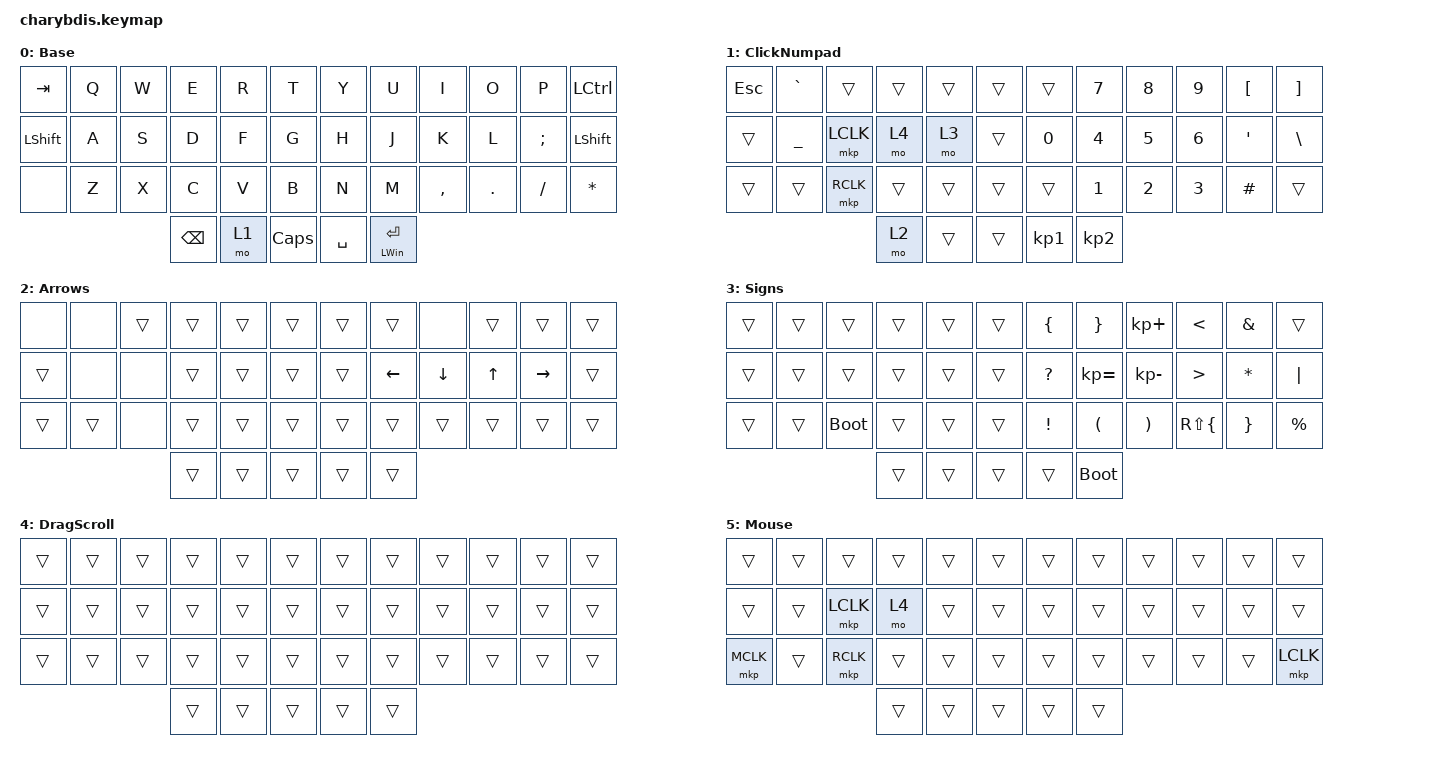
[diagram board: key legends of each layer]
#include <behaviors.dtsi>
#include <dt-bindings/zmk/keys.h>
#include <dt-bindings/zmk/bt.h>
#include <dt-bindings/zmk/ext_power.h>
#include <dt-bindings/zmk/mouse.h>
#include <dt-bindings/zmk/outputs.h>

/ {
    trackball_listener {
        compatible = "zmk,input-behavior-listener";
        device = <&vtrackball>;
        layers = <0 1 2 3 5>;
        evt-type = <INPUT_EV_REL>;
        x-input-code = <INPUT_REL_X>;
        y-input-code = <INPUT_REL_Y>;
        scale-multiplier = <1>;
        scale-divisor = <1>;
        bindings = <&ib_toggle_layer 5>;
    };

    trackball_snipe_listener {
        compatible = "zmk,input-behavior-listener";
        device = <&vtrackball>;
        layers = <>;
        evt-type = <INPUT_EV_REL>;
        x-input-code = <INPUT_REL_X>;
        y-input-code = <INPUT_REL_Y>;
        scale-multiplier = <1>;
        scale-divisor = <4>;
    };

    trackball_scroll_listener {
        compatible = "zmk,input-behavior-listener";
        device = <&vtrackball>;
        layers = <4>;
        evt-type = <INPUT_EV_REL>;
        x-input-code = <INPUT_REL_MISC>;
        y-input-code = <INPUT_REL_WHEEL>;
        bindings = <&ib_wheel_scaler 1 8>;
    };

    ib_wheel_scaler: ib_wheel_scaler {
        compatible = "zmk,input-behavior-scaler";
        #binding-cells = <2>;
        evt-type = <INPUT_EV_REL>;
        input-code = <INPUT_REL_WHEEL>;
    };

    ib_toggle_layer: ib_toggle_layer {
        compatible = "zmk,input-behavior-tog-layer";
        #binding-cells = <1>;
        time-to-live-ms = <250>;
    };

    behaviors {
        lt: layer_tap {
            compatible = "zmk,behavior-hold-tap";
            #binding-cells = <2>;
            flavor = "balanced";
            tapping-term-ms = <240>;
            quick-tap-ms = <150>;
            bindings = <&mo>, <&kp>;
        };
    };

    keymap {
        compatible = "zmk,keymap";

        Base {
            label = "Base";
            bindings = <
&kp TAB         &kp Q  &kp W  &kp E          &kp R  &kp T           &kp Y      &kp U               &kp I      &kp O    &kp P     &kp LCTRL
&kp LEFT_SHIFT  &kp A  &kp S  &kp D          &kp F  &kp G           &kp H      &kp J               &kp K      &kp L    &kp SEMI  &kp LEFT_SHIFT
&none           &kp Z  &kp X  &kp C          &kp V  &kp B           &kp N      &kp M               &kp COMMA  &kp DOT  &kp FSLH  &kp ASTERISK
                              &kp BACKSPACE  &mo 1  &kp CAPSLOCK    &kp SPACE  &mt LEFT_WIN ENTER
            >;
        };

        ClickNumpad {
            label = "ClickNumpad";
            bindings = <
&kp ESCAPE  &kp GRAVE  &trans     &trans  &trans  &trans    &trans           &kp NUMBER_7     &kp NUMBER_8  &kp NUMBER_9  &kp LEFT_BRACKET  &kp RIGHT_BRACKET
&trans      &kp UNDER  &mkp LCLK  &mo 4   &mo 3   &trans    &kp NUMBER_0     &kp NUMBER_4     &kp NUMBER_5  &kp NUMBER_6  &kp SINGLE_QUOTE  &kp BACKSLASH
&trans      &trans     &mkp RCLK  &trans  &trans  &trans    &trans           &kp NUMBER_1     &kp NUMBER_2  &kp NUMBER_3  &kp HASH          &trans
                                  &mo 2   &trans  &trans    &kp KP_NUMBER_1  &kp KP_NUMBER_2
            >;
        };

        Arrows {
            label = "Arrows";
            bindings = <
&none   &none   &trans  &trans  &trans  &trans    &trans  &trans    &none     &trans        &trans     &trans
&trans  &none   &none   &trans  &trans  &trans    &trans  &kp LEFT  &kp DOWN  &kp UP_ARROW  &kp RIGHT  &trans
&trans  &trans  &none   &trans  &trans  &trans    &trans  &trans    &trans    &trans        &trans     &trans
                        &trans  &trans  &trans    &trans  &trans
            >;
        };

        Signs {
            label = "Signs";
            bindings = <
&trans  &trans  &trans       &trans  &trans  &trans    &kp LBRC         &kp RBRC              &kp KP_PLUS            &kp LESS_THAN     &kp AMPERSAND    &trans
&trans  &trans  &trans       &trans  &trans  &trans    &kp QUESTION     &kp KP_EQUAL          &kp KP_SUBTRACT        &kp GREATER_THAN  &kp ASTRK        &kp PIPE
&trans  &trans  &bootloader  &trans  &trans  &trans    &kp EXCLAMATION  &kp LEFT_PARENTHESIS  &kp RIGHT_PARENTHESIS  &kp RS(LBRC)      &kp RIGHT_BRACE  &kp PERCENT
                             &trans  &trans  &trans    &trans           &bootloader
            >;
        };

        DragScroll {
            label = "DragScroll";
            bindings = <
&trans  &trans  &trans  &trans  &trans  &trans    &trans  &trans  &trans  &trans  &trans  &trans
&trans  &trans  &trans  &trans  &trans  &trans    &trans  &trans  &trans  &trans  &trans  &trans
&trans  &trans  &trans  &trans  &trans  &trans    &trans  &trans  &trans  &trans  &trans  &trans
                        &trans  &trans  &trans    &trans  &trans
            >;
        };

        Mouse {
            bindings = <
&trans     &trans  &trans     &trans  &trans  &trans    &trans  &trans  &trans  &trans  &trans  &trans
&trans     &trans  &mkp LCLK  &mo 4   &trans  &trans    &trans  &trans  &trans  &trans  &trans  &trans
&mkp MCLK  &trans  &mkp RCLK  &trans  &trans  &trans    &trans  &trans  &trans  &trans  &trans  &mkp LCLK
                              &trans  &trans  &trans    &trans  &trans
            >;
        };
    };
};
